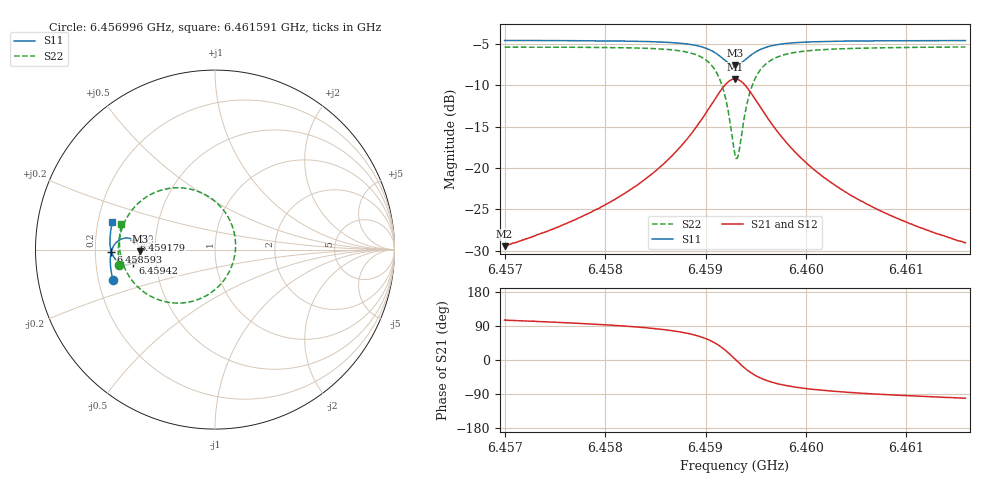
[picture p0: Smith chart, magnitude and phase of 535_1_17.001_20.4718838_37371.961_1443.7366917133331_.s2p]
#  HZ  S  RI  R  50.00
! Rohde & Schwarz Vector Network Analyzer
! Rohde-Schwarz,ZNB20-2Port,1311601062101988,3.16
! Created: UTC 3/20/2024, 11:16:03 PM
! freq[Hz]  re:S11  im:S11  re:S21  im:S21  re:S12  im:S12  re:S22  im:S22
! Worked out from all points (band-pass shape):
!   401 points, 6.456996 GHz to 6.461591 GHz, reference 50 ohm
!   highest |S21| = -9.20 dB at 6.459294 GHz (marker M1); lowest = -29.5 dB at 6.456996 GHz (marker M2)
!   |S21| within 3 dB of the highest: 6.459065 GHz to 6.459524 GHz (459 kHz wide, 0.00711 % of centre)
!   lowest |S11| = -7.6 dB at 6.459294 GHz (marker M3), VSWR 2.44, Z = 20.5 - j0.461 ohm
!   |S11| at or under -10 dB: nowhere
!   |S22| runs from -18.8 to -5.3 dB; largest |S21 - S12| = 0.014
!   S11 on the Smith chart (normalised r, x): 6.456996 GHz: 0.26, -0.14; 6.458593 GHz: 0.27, -0.01; 6.459179 GHz: 0.37, +0.05; 6.45942 GHz: 0.37, -0.07; 6.461591 GHz: 0.26, +0.12
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6.4569963e9  -0.5671 -0.1707  -0.0089 0.0324  -0.00713 0.0325  -0.533 -0.0832
6.4577659e9  -0.581 -0.1033  -0.0056 0.0505  -0.00289 0.0499  -0.5382 0.00705
6.4582139e9  -0.5837 -0.0584  0.00102 0.0713  0.00439 0.07  -0.5288 0.0789
6.4585355e9  -0.5798 -0.0197  0.0145 0.0989  0.0185 0.0962  -0.504 0.1523
6.4585929e9  -0.5781 -0.0116  0.0188 0.1058  0.0229 0.1027  -0.4958 0.169
6.4587997e9  -0.565 0.0204  0.0464 0.138  0.0506 0.1332  -0.4439 0.2417
6.458949e9  -0.5422 0.0467  0.0919 0.1687  0.0951 0.1619  -0.3604 0.3062
6.4590869e9  -0.4983 0.0642  0.179 0.185  0.18 0.1778  -0.2005 0.3447
6.4591787e9  -0.4538 0.054  0.2691 0.1538  0.2694 0.148  -0.0335 0.294
6.4592477e9  -0.4246 0.0218  0.3298 0.0818  0.332 0.0765  0.0822 0.1639
6.4592936e9  -0.4178 -0.00926  0.3463 0.0135  0.35 0.0067  0.1147 0.0363
6.4593051e9  -0.4181 -0.0173  0.3459 -0.00436  0.35 -0.0119  0.1143 0.00251
6.4593281e9  -0.4217 -0.033  0.3404 -0.0391  0.3444 -0.0481  0.1028 -0.0635
6.459374e9  -0.4373 -0.0591  0.3117 -0.0991  0.3138 -0.1111  0.0448 -0.1772
6.45942e9  -0.4594 -0.0754  0.2695 -0.1402  0.2686 -0.1536  -0.0409 -0.2523
6.4595119e9  -0.5029 -0.0823  0.1842 -0.1714  0.1781 -0.1829  -0.2107 -0.2982
6.4596612e9  -0.5468 -0.0617  0.0962 -0.1573  0.0875 -0.1635  -0.3791 -0.248
6.4598335e9  -0.5694 -0.0321  0.0491 -0.1272  0.0414 -0.1299  -0.4632 -0.1707
6.4600632e9  -0.581 0.00158  0.022 -0.0975  0.0161 -0.0979  -0.5073 -0.0925
6.4604078e9  -0.5856 0.0427  0.00617 -0.0705  0.002 -0.0701  -0.5286 -0.0132
6.4608328e9  -0.5835 0.0854  -0.00167 -0.0519  -0.00439 -0.0511  -0.5326 0.0551
6.461591e9  -0.5712 0.1525  -0.00663 -0.0346  -0.00836 -0.0336  -0.521 0.1448
